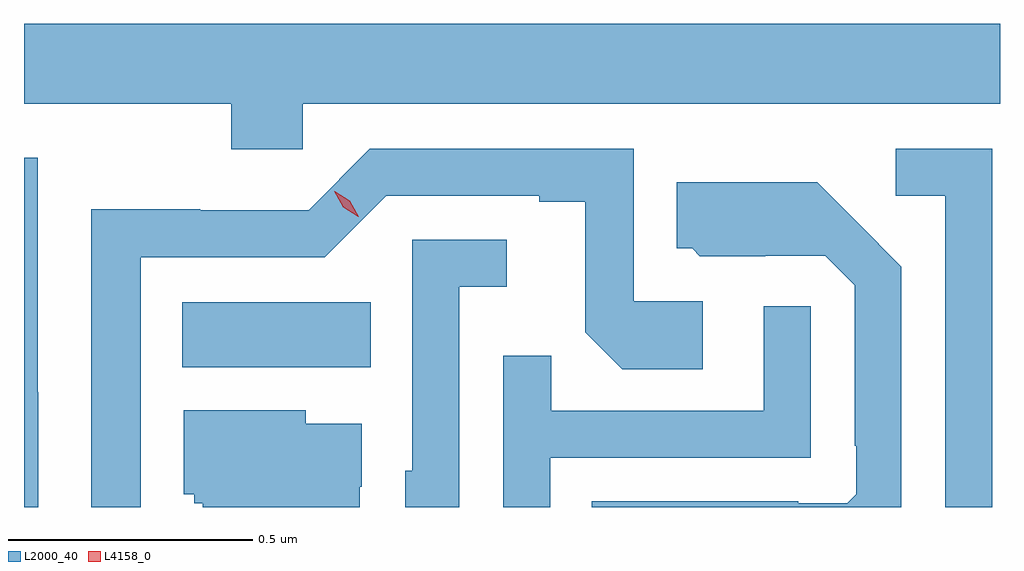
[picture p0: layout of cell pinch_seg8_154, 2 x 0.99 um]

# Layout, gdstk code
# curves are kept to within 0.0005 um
import gdstk
lib = gdstk.Library(unit=1e-6, precision=1e-09)
def R(c, l, rs):  # rectangles x0, y0, x1, y1
    for r in rs: c.add(gdstk.rectangle(r[:2], r[2:], *l))
def P(c, l, *ps):  # polygons
    for p in ps: c.add(gdstk.Polygon(p, *l))
L2000_40 = (2000, 40)
L4158_0 = (4158, 0)

pinch_seg8_154 = lib.new_cell('pinch_seg8_154')
R(pinch_seg8_154, L2000_40, [(709.463,1149.26,709.85,1149.394)])
P(pinch_seg8_154, L2000_40, [(709.71,1149.8),(711.139,1149.8),(711.139,1149.964),(709.139,1149.964),(709.139,1149.8),(709.564,1149.8),(709.564,1149.707),(709.71,1149.707)],
  [(711.123,1149.708),(710.925,1149.708),(710.925,1149.612),(711.027,1149.612),(711.027,1148.974),(711.123,1148.974)],
  [(709.378,1149.486),(709.755,1149.486),(709.881,1149.612),(710.195,1149.612),(710.195,1149.6),(710.289,1149.6),(710.289,1149.332),(710.365,1149.256),(710.53,1149.256),(710.53,1149.396),(710.388,1149.396),(710.388,1149.708),(709.848,1149.708),(709.722,1149.582),(709.5,1149.582),(709.5,1149.584),(709.277,1149.584),(709.277,1148.974),(709.378,1148.974)],
  [(709.168,1149.209),(709.167,1149.209),(709.167,1149.69),(709.139,1149.69),(709.139,1148.974),(709.168,1148.974)],
  [(710.937,1149.466),(710.765,1149.64),(710.477,1149.64),(710.477,1149.504),(710.508,1149.504),(710.524,1149.488),(710.658,1149.488),(710.658,1149.489),(710.781,1149.489),(710.841,1149.429),(710.841,1149.1),(710.844,1149.1),(710.844,1149),(710.826,1148.982),(710.726,1148.982),(710.726,1148.986),(710.302,1148.986),(710.302,1148.974),(710.937,1148.974)],
  [(710.031,1149.425),(710.128,1149.425),(710.128,1149.522),(709.935,1149.522),(709.935,1149.048),(709.92,1149.048),(709.92,1148.974),(710.031,1148.974)],
  [(710.217,1149.075),(710.751,1149.075),(710.751,1149.385),(710.655,1149.385),(710.655,1149.171),(710.219,1149.171),(710.219,1149.284),(710.121,1149.284),(710.121,1148.974),(710.217,1148.974)],
  [(709.827,1149.016),(709.831,1149.016),(709.831,1149.145),(709.716,1149.145),(709.716,1149.172),(709.466,1149.172),(709.466,1149),(709.488,1149),(709.488,1148.982),(709.505,1148.982),(709.505,1148.974),(709.827,1148.974)])
P(pinch_seg8_154, L4158_0, [(709.824,1149.569),(709.793,1149.588),(709.775,1149.621),(709.775,1149.621),(709.776,1149.621),(709.807,1149.602),(709.825,1149.569),(709.825,1149.569)])

lib.write_gds('pinch_seg8_154.gds')
